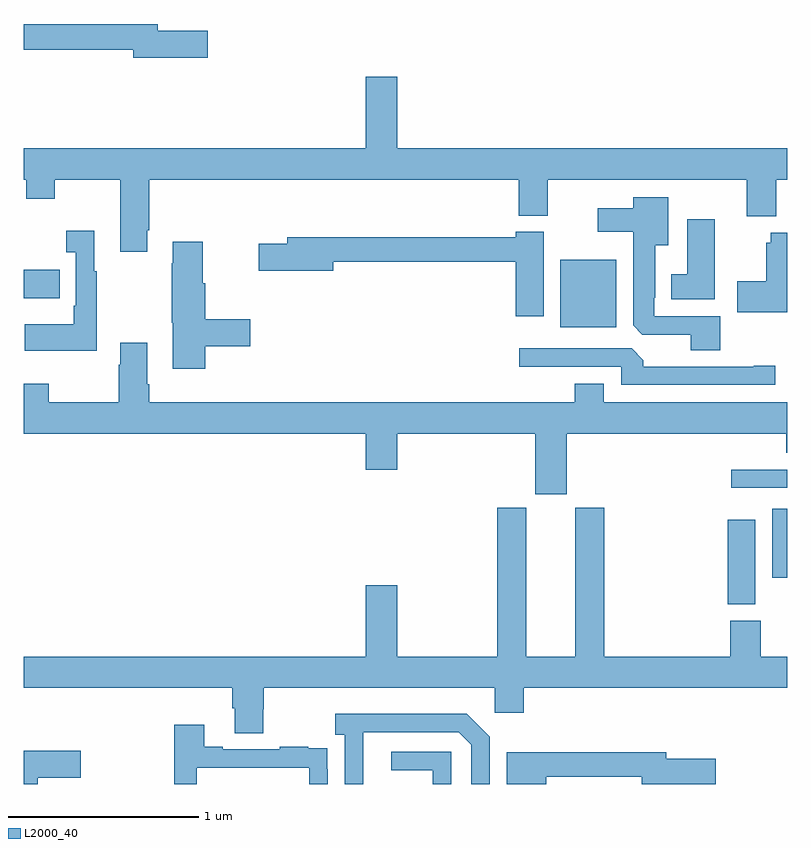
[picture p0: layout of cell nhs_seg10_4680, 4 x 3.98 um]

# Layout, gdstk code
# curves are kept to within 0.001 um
import gdstk
lib = gdstk.Library(unit=1e-6, precision=1e-09)
def R(c, l, rs):  # rectangles x0, y0, x1, y1
    for r in rs: c.add(gdstk.rectangle(r[:2], r[2:], *l))
def P(c, l, *ps):  # polygons
    for p in ps: c.add(gdstk.Polygon(p, *l))
L2000_40 = (2000, 40)

nhs_seg10_4680 = lib.new_cell('nhs_seg10_4680')
R(nhs_seg10_4680, L2000_40, [(382.688,1279.441,382.834,1279.885), (382.922,1279.58,383,1279.942), (382.707,1280.052,383,1280.148), (381.812,1280.894,382.105,1281.247), (379,1281.047,379.187,1281.195)])
P(nhs_seg10_4680, L2000_40, [(379.963,1282.448),(379.702,1282.448),(379.702,1282.484),(379,1282.484),(379,1282.348),(379.574,1282.348),(379.574,1282.306),(379.963,1282.306)],
  [(380.956,1282.207),(380.792,1282.207),(380.792,1281.832),(379,1281.832),(379,1281.668),(379.013,1281.668),(379.013,1281.569),(379.161,1281.569),(379.161,1281.668),(379.505,1281.668),(379.505,1281.291),(379.645,1281.291),(379.645,1281.403),(379.658,1281.403),(379.658,1281.668),(381.593,1281.668),(381.593,1281.479),(381.745,1281.479),(381.745,1281.668),(382.79,1281.668),(382.79,1281.476),(382.943,1281.476),(382.943,1281.668),(383,1281.668),(383,1281.832),(380.956,1281.832)],
  [(382.649,1280.952),(382.305,1280.952),(382.305,1281.049),(382.309,1281.049),(382.309,1281.323),(382.378,1281.323),(382.378,1281.577),(382.193,1281.577),(382.193,1281.517),(382.008,1281.517),(382.008,1281.395),(382.193,1281.395),(382.193,1280.905),(382.242,1280.856),(382.496,1280.856),(382.496,1280.773),(382.649,1280.773)],
  [(382.621,1281.46),(382.478,1281.46),(382.478,1281.172),(382.394,1281.172),(382.394,1281.041),(382.621,1281.041)],
  [(379.381,1281.187),(379.369,1281.187),(379.369,1281.4),(379.221,1281.4),(379.221,1281.287),(379.272,1281.287),(379.272,1281.007),(379.26,1281.007),(379.26,1280.911),(379.003,1280.911),(379.003,1280.771),(379.381,1280.771)],
  [(381.724,1281.394),(381.578,1281.394),(381.578,1281.367),(380.381,1281.367),(380.381,1281.333),(380.232,1281.333),(380.232,1281.191),(380.62,1281.191),(380.62,1281.238),(381.578,1281.238),(381.578,1280.952),(381.724,1280.952)],
  [(383,1281.391),(382.915,1281.391),(382.915,1281.337),(382.892,1281.337),(382.892,1281.135),(382.74,1281.135),(382.74,1280.972),(383,1280.972)],
  [(379.949,1280.794),(380.185,1280.794),(380.185,1280.936),(379.949,1280.936),(379.949,1281.125),(379.936,1281.125),(379.936,1281.343),(379.781,1281.343),(379.781,1281.23),(379.774,1281.23),(379.774,1280.919),(379.781,1280.919),(379.781,1280.676),(379.949,1280.676)],
  [(382.997,1280.237),(383,1280.237),(383,1280.5),(382.039,1280.5),(382.039,1280.599),(381.887,1280.599),(381.887,1280.5),(379.658,1280.5),(379.658,1280.596),(379.645,1280.596),(379.645,1280.812),(379.505,1280.812),(379.505,1280.699),(379.498,1280.699),(379.498,1280.5),(379.131,1280.5),(379.131,1280.599),(379,1280.599),(379,1280.336),(380.792,1280.336),(380.792,1280.148),(380.956,1280.148),(380.956,1280.336),(381.68,1280.336),(381.68,1280.019),(381.844,1280.019),(381.844,1280.336),(382.997,1280.336)],
  [(382.939,1280.693),(382.826,1280.693),(382.826,1280.688),(382.247,1280.688),(382.247,1280.722),(382.185,1280.784),(381.597,1280.784),(381.597,1280.688),(382.131,1280.688),(382.131,1280.592),(382.939,1280.592)],
  [(380.253,1278.891),(380.258,1278.891),(380.258,1279.004),(381.468,1279.004),(381.468,1278.873),(381.62,1278.873),(381.62,1279.004),(383,1279.004),(383,1279.168),(382.863,1279.168),(382.863,1279.356),(382.703,1279.356),(382.703,1279.168),(382.043,1279.168),(382.043,1279.947),(381.89,1279.947),(381.89,1279.168),(381.634,1279.168),(381.634,1279.947),(381.482,1279.947),(381.482,1279.168),(380.956,1279.168),(380.956,1279.543),(380.792,1279.543),(380.792,1279.168),(379,1279.168),(379,1279.004),(380.093,1279.004),(380.093,1278.898),(380.105,1278.898),(380.105,1278.766),(380.253,1278.766)],
  [(380.778,1278.571),(380.779,1278.771),(381.279,1278.771),(381.345,1278.705),(381.345,1278.5),(381.441,1278.5),(381.441,1278.747),(381.32,1278.868),(380.631,1278.868),(380.631,1278.758),(380.682,1278.758),(380.682,1278.5),(380.778,1278.5)],
  [(379.905,1278.585),(380.496,1278.585),(380.496,1278.5),(380.592,1278.5),(380.592,1278.578),(380.591,1278.578),(380.591,1278.687),(380.489,1278.687),(380.489,1278.694),(380.341,1278.694),(380.341,1278.681),(380.041,1278.681),(380.041,1278.694),(379.945,1278.694),(379.945,1278.811),(379.789,1278.811),(379.789,1278.5),(379.905,1278.5)],
  [(379.073,1278.533),(379.297,1278.533),(379.297,1278.675),(379,1278.675),(379,1278.5),(379.073,1278.5)],
  [(381.24,1278.669),(380.925,1278.669),(380.925,1278.573),(381.144,1278.573),(381.144,1278.5),(381.24,1278.5)],
  [(381.737,1278.538),(382.238,1278.538),(382.238,1278.5),(382.627,1278.5),(382.627,1278.633),(382.366,1278.633),(382.366,1278.667),(381.53,1278.667),(381.53,1278.5),(381.737,1278.5)])

lib.write_gds('nhs_seg10_4680.gds')
